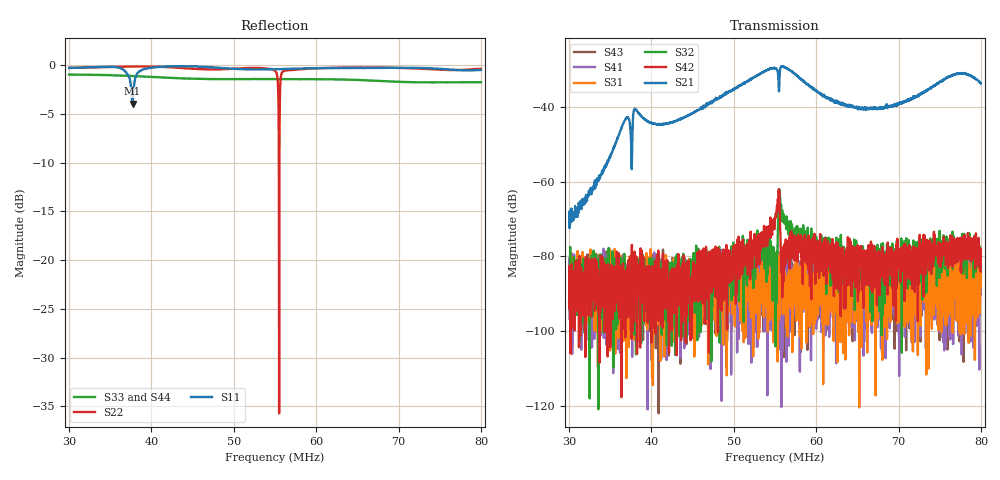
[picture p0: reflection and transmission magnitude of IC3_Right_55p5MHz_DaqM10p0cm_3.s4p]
#  HZ  S  DB  R  50.00
! Rohde & Schwarz Vector Network Analyzer
! Rohde-Schwarz,ZNB8-4Port,1311601044102961,2.82
! Created: UTC 2/13/2019, 2:32:59 PM
! freq[Hz]  db:S11  ang:S11  db:S12  ang:S12  db:S13  ang:S13  db:S14  ang:S14
!  db:S21  ang:S21  db:S22  ang:S22  db:S23  ang:S23  db:S24  ang:S24
!  db:S31  ang:S31  db:S32  ang:S32  db:S33  ang:S33  db:S34  ang:S34
!  db:S41  ang:S41  db:S42  ang:S42  db:S43  ang:S43  db:S44  ang:S44
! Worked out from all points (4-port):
!   2001 points, 30 MHz to 80 MHz, reference 50 ohm
!   strongest paths, dB at 30 MHz, 42.5 MHz, 55 MHz, 67.5 MHz, 80 MHz:
!     S21: -70.4, -44.0, -29.6, -40.4, -33.6
!     S42: -82.7, -86.2, -69.8, -86.3, -77.9
!     S32: -92.5, -81.5, -83.0, -81.2, -82.4
!     S31: -87.7, -88.1, -90.8, -96.6, -84.9
!     S41: -89.3, -89.6, -85.4, -84.9, -88.4
!     S43: -84.5, -90.8, -82.9, -94.4, -84.4
!   lowest |S11| = -3.9 dB at 37.7 MHz (marker M1), VSWR 4.48, Z = 101 - j105 ohm
!   |S11| at or under -10 dB: nowhere
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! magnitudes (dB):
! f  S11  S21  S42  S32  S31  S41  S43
! 30 MHz  -0.3  -70.4  -82.7  -92.5  -87.7  -89.3  -84.5
! 37.7 MHz  -3.9  -46.1  -92.8  -95.0  -80.6  -95.2  -83.7
! 51.4 MHz  -0.4  -33.5  -78.4  -78.2  -101.8  -82.2  -83.4
! 55 MHz  -0.4  -29.6  -69.8  -83.0  -90.8  -85.4  -82.9
! 55.65 MHz  -0.4  -29.5  -73.8  -66.2  -88.3  -94.2  -81.1
! 60.62 MHz  -0.3  -36.5  -78.4  -75.4  -91.6  -95.8  -83.5
! 80 MHz  -0.5  -33.6  -77.9  -82.4  -84.9  -88.4  -84.4
